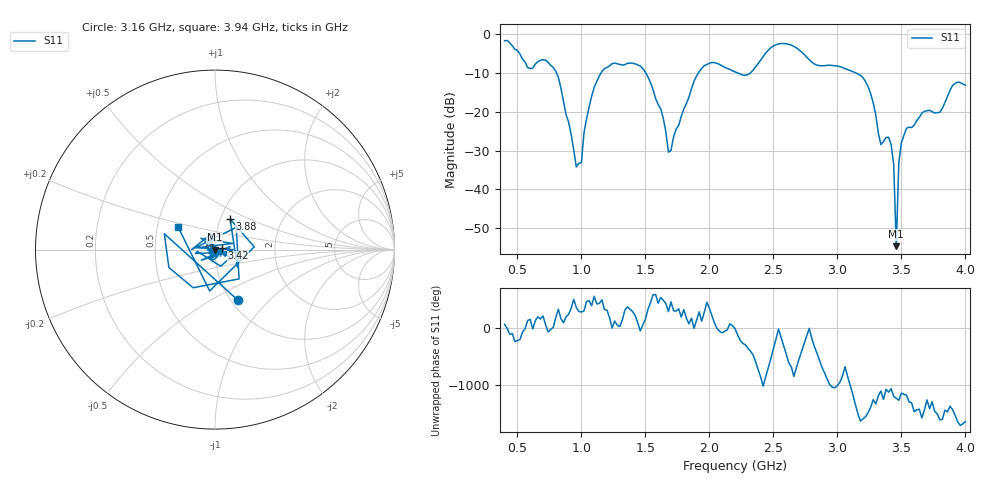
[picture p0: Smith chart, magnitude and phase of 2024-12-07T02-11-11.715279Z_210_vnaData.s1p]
!Created with skrf (http://scikit-rf.org).
# Hz S RI R 50.0
!freq ReS11 ImS11
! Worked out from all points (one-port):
!   181 points, 400 MHz to 4 GHz, reference 50 ohm
!   lowest |S11| = -54.6 dB at 3.46 GHz (marker M1), VSWR 1.00, Z = 49.8 - j0.0681 ohm
!   |S11| at or under -10 dB: 806.1 MHz to 1.153 GHz (346.5 MHz wide, 35.4 % of centre); 1.504 GHz to 1.914 GHz (409.7 MHz wide, 24 % of centre); 3.147 GHz to end of sweep (the widest 3 of 4)
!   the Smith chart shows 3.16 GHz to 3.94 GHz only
!   S11 on the Smith chart (normalised r, x): 3.16 GHz: 1.08, -0.67; 3.42 GHz: 1.08, +0.01; 3.88 GHz: 1.11, +0.39; 3.94 GHz: 0.64, +0.17
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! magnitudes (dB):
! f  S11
! 400 MHz  -1.7
! 580 MHz  -8.6
! 780 MHz  -8.5
! 860 MHz  -17.3
! 960 MHz  -34.2
! 1 GHz  -33.2
! 1.02 GHz  -25.4
! 1.1 GHz  -13.7
! 1.3 GHz  -7.8
! 1.52 GHz  -11.0
! 1.62 GHz  -19.2
! 1.68 GHz  -30.4
! 1.76 GHz  -23.5
! 1.96 GHz  -8.1
! 2.2 GHz  -9.7
! 2.66 GHz  -3.1
! 3.1 GHz  -9.4
! 3.16 GHz  -10.2
! 3.26 GHz  -15.3
! 3.34 GHz  -28.4
! 3.42 GHz  -28.5
! 3.44 GHz  -33.6
! 3.46 GHz  -54.6
! 3.48 GHz  -33.0
! 3.56 GHz  -23.9
! 3.88 GHz  -14.4
! 3.94 GHz  -12.3
! 4 GHz  -13.1
